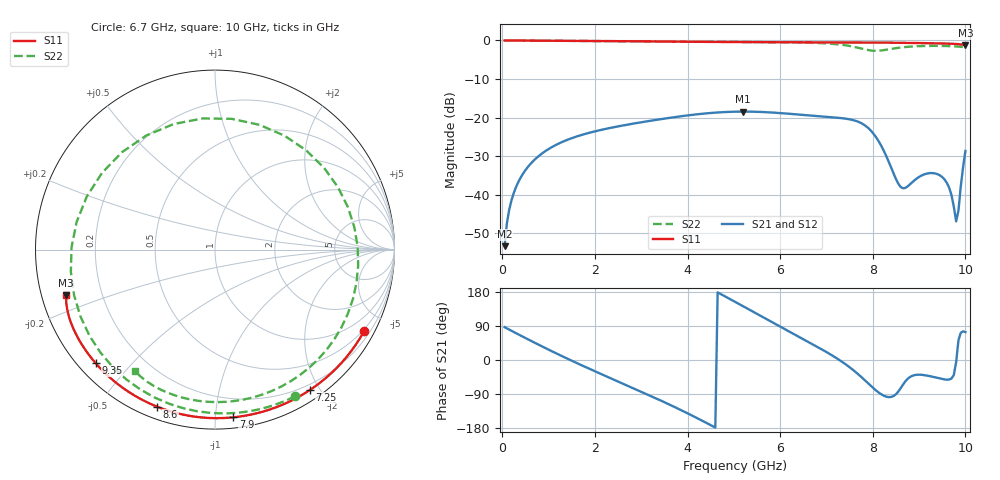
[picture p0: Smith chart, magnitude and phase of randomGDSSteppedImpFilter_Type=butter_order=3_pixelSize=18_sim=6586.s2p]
! freq	dB(S11)	phase(S11)	dB(S12)	phase(S12)
!  dB(S21)	phase(S21)	dB(S22)	phase(S22)
!S-par simulation data
#  GHz  S  DB  R 50
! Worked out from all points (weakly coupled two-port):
!   200 points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, 50 MHz to 10 GHz, reference 50 ohm
!   highest |S21| = -18.46 dB at 5.2 GHz (marker M1); lowest = -53.4 dB at 50 MHz (marker M2)
!   lowest |S11| = -1.2 dB at 10 GHz (marker M3), VSWR 14.03, Z = 3.64 - j7.42 ohm
!   |S11| at or under -10 dB: nowhere
!   |S22| runs from -2.7 to 0.0 dB; largest |S21 - S12| = 0
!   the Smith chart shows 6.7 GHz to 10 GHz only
!   S11 on the Smith chart (normalised r, x): 6.7 GHz: 0.44, -3.87; 7.25 GHz: 0.13, -1.88; 7.9 GHz: 0.07, -1.11; 8.6 GHz: 0.05, -0.70; 9.35 GHz: 0.05, -0.40; 10 GHz: 0.07, -0.15
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0.05  -0.00 -2.8  -53.38 86.7  -53.38 86.7  -0.00 -3.6
0.2  -0.01 -11.2  -41.40 76.9  -41.40 76.9  -0.02 -14.5
0.5  -0.04 -27.8  -33.65 57.9  -33.65 57.9  -0.05 -35.9
1.1  -0.08 -60.4  -27.48 21.3  -27.48 21.3  -0.10 -77.0
1.75  -0.13 -94.9  -24.39 -16.0  -24.39 -16.0  -0.15 -118.2
2.6  -0.19 -139.4  -22.07 -62.0  -22.07 -62.0  -0.20 -167.9
3.4  -0.26 177.1  -20.46 -105.7  -20.46 -105.7  -0.25 146.8
4.25  -0.35 126.4  -19.11 -156.0  -19.11 -156.0  -0.32 97.5
5.05  -0.42 73.9  -18.48 151.9  -18.48 151.9  -0.38 48.8
5.2  -0.43 63.8  -18.46 141.9  -18.46 141.9  -0.39 39.4
5.95  -0.46 14.8  -18.80 91.4  -18.80 91.4  -0.45 -8.6
6.7  -0.47 -28.7  -19.54 41.6  -19.54 41.6  -0.62 -61.4
7.25  -0.50 -55.9  -20.07 2.3  -20.07 2.3  -1.01 -112.3
7.65  -0.52 -73.5  -20.93 -33.9  -20.93 -33.9  -1.80 -171.2
7.9  -0.54 -83.7  -22.70 -61.6  -22.70 -61.6  -2.50 133.6
8.1  -0.55 -91.6  -25.63 -83.2  -25.63 -83.2  -2.68 82.7
8.35  -0.57 -101.1  -31.61 -98.0  -31.61 -98.0  -2.29 26.9
8.6  -0.61 -110.2  -37.99 -74.8  -37.99 -74.8  -1.83 -13.2
9.35  -0.74 -136.3  -34.52 -46.0  -34.52 -46.0  -1.41 -82.5
9.65  -0.83 -147.1  -38.24 -51.5  -38.24 -51.5  -1.47 -102.0
9.8  -0.91 -153.0  -46.94 -5.7  -46.94 -5.7  -1.55 -111.2
10  -1.24 -163.0  -28.68 73.7  -28.68 73.7  -1.83 -123.4
